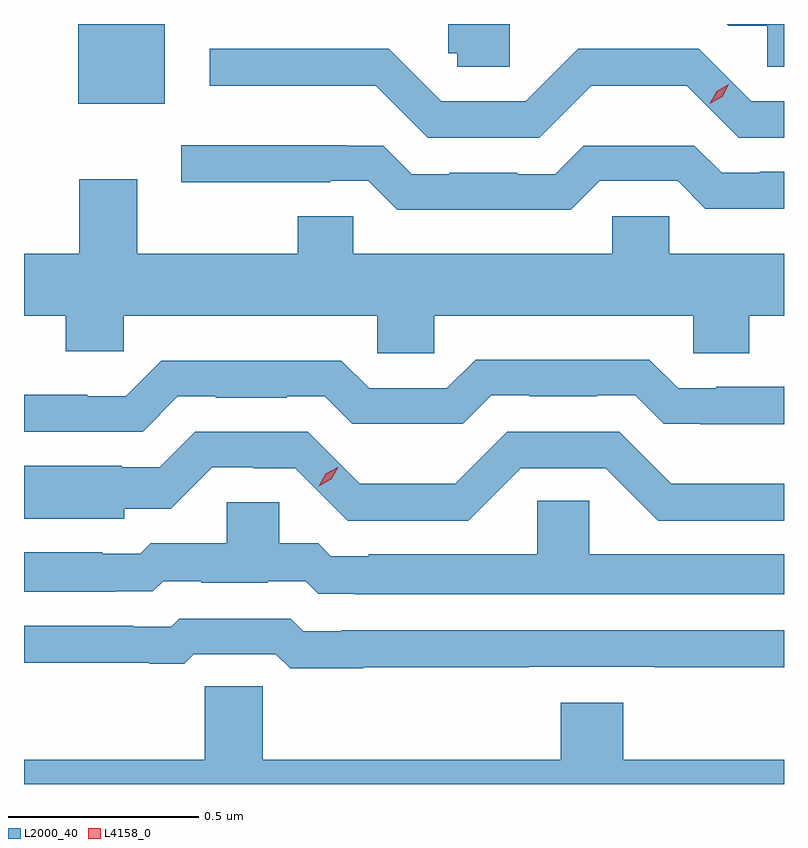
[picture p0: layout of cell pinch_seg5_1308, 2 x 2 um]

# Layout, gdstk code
import gdstk
lib = gdstk.Library(unit=1e-6, precision=1e-09)
def R(c, l, rs):  # rectangles x0, y0, x1, y1
    for r in rs: c.add(gdstk.rectangle(r[:2], r[2:], *l))
def P(c, l, *ps):  # polygons
    for p in ps: c.add(gdstk.Polygon(p, *l))
L2000_40 = (2000, 40)
L4158_0 = (4158, 0)

pinch_seg5_1308 = lib.new_cell('pinch_seg5_1308')
R(pinch_seg5_1308, L2000_40, [(480.158,857.318,480.385,857.528)])
P(pinch_seg5_1308, L2000_40, [(481.293,857.528),(481.131,857.528),(481.131,857.451),(481.155,857.451),(481.155,857.415),(481.293,857.415)],
  [(482.015,857.528),(481.864,857.528),(481.869,857.523),(481.971,857.523),(481.971,857.415),(482.015,857.415)],
  [(481.508,857.366),(481.759,857.366),(481.896,857.229),(482.015,857.229),(482.015,857.325),(481.929,857.325),(481.791,857.463),(481.474,857.463),(481.336,857.325),(481.113,857.325),(480.975,857.463),(480.504,857.463),(480.504,857.366),(480.94,857.366),(481.077,857.229),(481.371,857.229)],
  [(481.53,857.115),(481.735,857.115),(481.808,857.042),(482.015,857.042),(482.015,857.139),(481.951,857.139),(481.951,857.136),(481.851,857.136),(481.779,857.208),(481.488,857.208),(481.413,857.133),(481.313,857.133),(481.313,857.136),(481.135,857.136),(481.135,857.133),(481.035,857.133),(480.96,857.208),(480.863,857.208),(480.863,857.209),(480.429,857.209),(480.429,857.111),(480.821,857.111),(480.821,857.115),(480.921,857.115),(480.997,857.039),(481.454,857.039)],
  [(481.095,856.76),(481.776,856.76),(481.776,856.662),(481.923,856.662),(481.923,856.76),(482.015,856.76),(482.015,856.924),(481.713,856.924),(481.713,857.022),(481.563,857.022),(481.563,856.924),(480.882,856.924),(480.882,857.022),(480.736,857.022),(480.736,856.924),(480.313,856.924),(480.313,857.119),(480.161,857.119),(480.161,856.924),(480.015,856.924),(480.015,856.76),(480.125,856.76),(480.125,856.667),(480.277,856.667),(480.277,856.76),(480.945,856.76),(480.945,856.662),(481.095,856.662)],
  [(480.42,856.548),(480.52,856.548),(480.52,856.545),(480.707,856.545),(480.707,856.548),(480.807,856.548),(480.879,856.476),(481.17,856.476),(481.245,856.551),(481.345,856.551),(481.345,856.548),(481.523,856.548),(481.523,856.551),(481.623,856.551),(481.698,856.476),(481.795,856.476),(481.795,856.475),(482.015,856.475),(482.015,856.574),(481.837,856.574),(481.837,856.569),(481.737,856.569),(481.661,856.645),(481.204,856.645),(481.128,856.569),(480.923,856.569),(480.85,856.642),(480.376,856.642),(480.283,856.549),(480.182,856.549),(480.182,856.553),(480.015,856.553),(480.015,856.455),(480.327,856.455)],
  [(481.322,856.359),(481.546,856.359),(481.684,856.221),(482.015,856.221),(482.015,856.318),(481.718,856.318),(481.581,856.455),(481.287,856.455),(481.15,856.318),(480.899,856.318),(480.762,856.455),(480.465,856.455),(480.372,856.362),(480.272,856.362),(480.272,856.366),(480.015,856.366),(480.015,856.226),(480.279,856.226),(480.279,856.253),(480.401,856.253),(480.51,856.362),(480.618,856.362),(480.618,856.359),(480.729,856.359),(480.867,856.221),(481.184,856.221)],
  [(482.015,856.132),(481.503,856.132),(481.503,856.274),(481.365,856.274),(481.365,856.132),(480.922,856.132),(480.922,856.128),(480.822,856.128),(480.789,856.161),(480.687,856.161),(480.687,856.269),(480.549,856.269),(480.549,856.162),(480.349,856.162),(480.321,856.134),(480.221,856.134),(480.221,856.138),(480.015,856.138),(480.015,856.034),(480.257,856.034),(480.257,856.035),(480.354,856.035),(480.381,856.062),(480.481,856.062),(480.481,856.058),(480.656,856.058),(480.656,856.062),(480.756,856.062),(480.789,856.029),(480.886,856.029),(480.886,856.028),(482.015,856.028)],
  [(480.908,855.835),(481.343,855.835),(481.343,855.837),(481.675,855.837),(481.675,855.835),(482.015,855.835),(482.015,855.933),(480.85,855.933),(480.85,855.93),(480.75,855.93),(480.717,855.963),(480.423,855.963),(480.402,855.942),(480.302,855.942),(480.302,855.945),(480.015,855.945),(480.015,855.847),(480.344,855.847),(480.344,855.845),(480.437,855.845),(480.462,855.87),(480.678,855.87),(480.716,855.832),(480.908,855.832)],
  [(482.015,855.592),(481.592,855.592),(481.592,855.742),(481.427,855.742),(481.427,855.592),(480.643,855.592),(480.643,855.785),(480.491,855.785),(480.491,855.592),(480.015,855.592),(480.015,855.528),(482.015,855.528)])
P(pinch_seg5_1308, L4158_0, [(481.82,857.318),(481.82,857.318),(481.838,857.351),(481.87,857.37),(481.87,857.37),(481.87,857.37),(481.852,857.337),(481.82,857.318)],
  [(480.791,856.311),(480.791,856.311),(480.809,856.344),(480.841,856.362),(480.842,856.362),(480.842,856.362),(480.823,856.33),(480.791,856.311)])

lib.write_gds('pinch_seg5_1308.gds')
